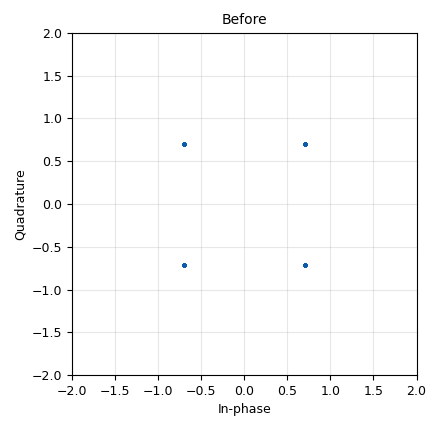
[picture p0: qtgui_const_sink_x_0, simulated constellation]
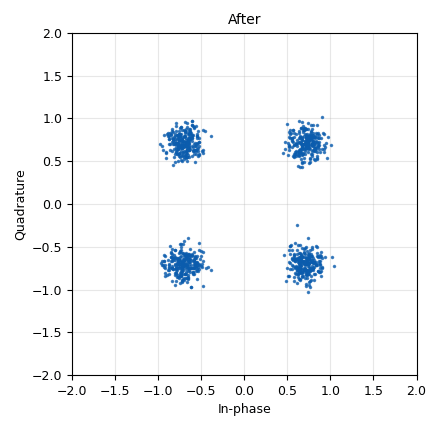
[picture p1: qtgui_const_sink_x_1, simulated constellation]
options:
  parameters:
    generate_options: qt_gui
    id: fg_ch16_003
    output_language: python
    title: FG-CH16-003
  states: {}

blocks:
- name: samp_rate
  id: variable
  parameters:
    value: '32000'
  states: {}
- name: blocks_throttle2_0
  id: blocks_throttle2
  parameters:
    samples_per_second: samp_rate
    type: complex
  states: {}
- name: blocks_vector_source_x_0
  id: blocks_vector_source_x
  parameters:
    repeat: 'True'
    type: complex
    vector: '[0.707+0.707j, -0.707+0.707j, -0.707-0.707j, 0.707-0.707j]'
  states: {}
- name: channels_channel_model_0
  id: channels_channel_model
  parameters:
    epsilon: '1.0'
    freq_offset: '0'
    noise_voltage: '0.15'
    seed: '0'
    taps: '1.0'
  states: {}
- name: qtgui_const_sink_x_0
  id: qtgui_const_sink_x
  parameters:
    gui_hint: 0,0,1,1
    name: '"Before"'
    size: '1024'
    type: complex
  states: {}
- name: qtgui_const_sink_x_1
  id: qtgui_const_sink_x
  parameters:
    gui_hint: 1,0,1,1
    name: '"After"'
    size: '1024'
    type: complex
  states: {}

connections:
- [blocks_throttle2_0, '0', channels_channel_model_0, '0']
- [blocks_throttle2_0, '0', qtgui_const_sink_x_0, '0']
- [blocks_vector_source_x_0, '0', blocks_throttle2_0, '0']
- [channels_channel_model_0, '0', qtgui_const_sink_x_1, '0']

metadata:
  file_format: 1
  grc_version: 3.10.12.0
